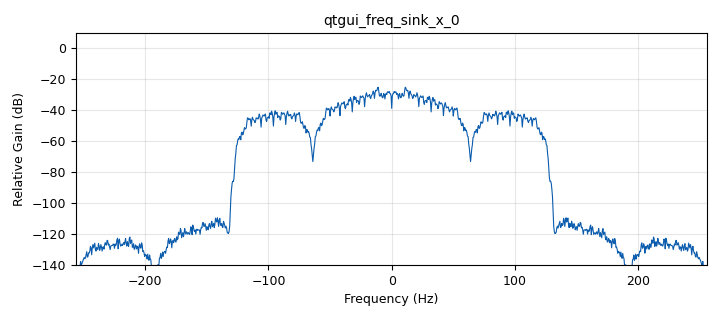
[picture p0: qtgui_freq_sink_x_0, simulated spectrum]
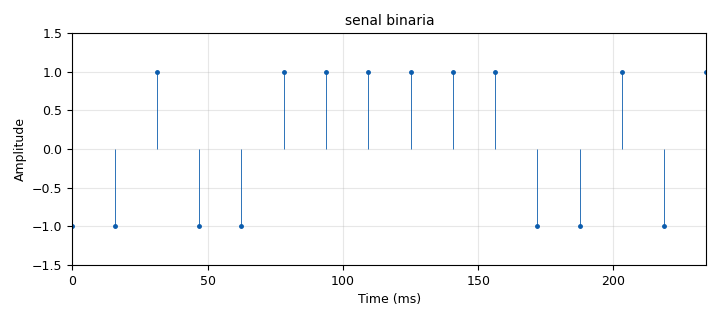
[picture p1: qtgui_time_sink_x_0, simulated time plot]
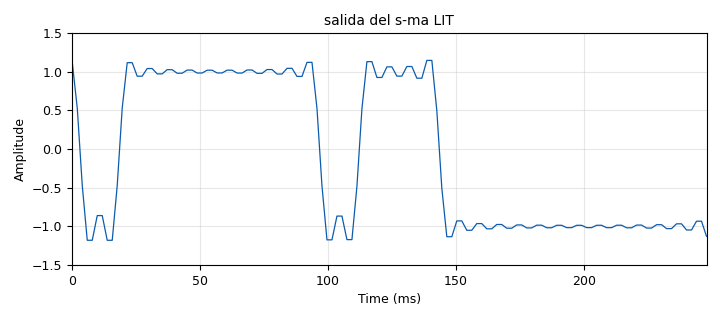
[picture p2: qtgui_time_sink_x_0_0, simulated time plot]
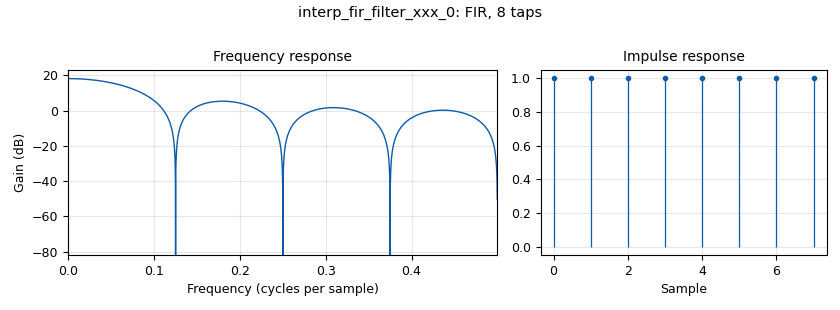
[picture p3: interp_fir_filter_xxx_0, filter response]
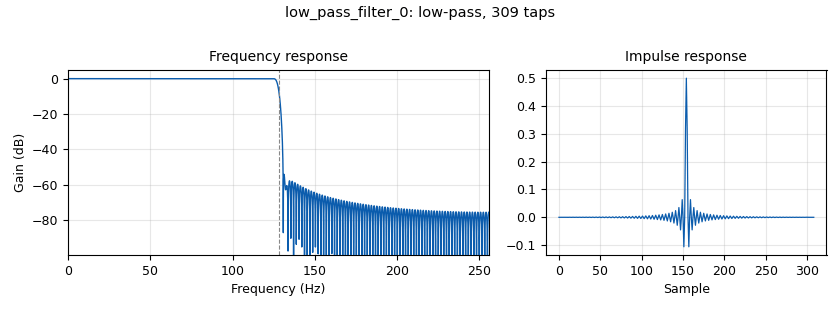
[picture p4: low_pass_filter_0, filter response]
<?xml version='1.0' encoding='utf-8'?>
<?grc format='1' created='3.7.13'?>
<flow_graph>
<block>
<key>options</key>
<param><key>id</key><value>top_block</value></param>
<param><key>generate_options</key><value>qt_gui</value></param>
<param><key>run</key><value>run_stop</value></param>
</block>
<block>
<key>variable</key>
<param><key>id</key><value>Rb</value></param>
<param><key>value</key><value>64</value></param>
</block>
<block>
<key>variable</key>
<param><key>id</key><value>Sps</value></param>
<param><key>value</key><value>len(h)</value></param>
</block>
<block>
<key>variable</key>
<param><key>id</key><value>h</value></param>
<param><key>value</key><value>(1.,1.,1.,1.,1.,1.,1.,1.)</value></param>
</block>
<block>
<key>variable_qtgui_check_box</key>
<param><key>id</key><value>run_stop</value></param>
<param><key>value</key><value>True</value></param>
<param><key>false</key><value>False</value></param>
<param><key>gui_hint</key><value>0,0,1,1</value></param>
<param><key>label</key><value>Pause</value></param>
<param><key>true</key><value>True</value></param>
<param><key>type</key><value>int</value></param>
</block>
<block>
<key>variable</key>
<param><key>id</key><value>samp_rate</value></param>
<param><key>value</key><value>Rb*Sps</value></param>
</block>
<block>
<key>analog_const_source_x</key>
<param><key>id</key><value>analog_const_source_x_0</value></param>
<param><key>const</key><value>-1./2.</value></param>
<param><key>type</key><value>float</value></param>
</block>
<block>
<key>analog_random_source_x</key>
<param><key>id</key><value>analog_random_source_x_0</value></param>
<param><key>max</key><value>2</value></param>
<param><key>min</key><value>0</value></param>
<param><key>num_samps</key><value>1000</value></param>
<param><key>type</key><value>int</value></param>
<param><key>repeat</key><value>True</value></param>
</block>
<block>
<key>blocks_add_xx</key>
<param><key>id</key><value>blocks_add_xx_0</value></param>
<param><key>type</key><value>float</value></param>
</block>
<block>
<key>blocks_int_to_float</key>
<param><key>id</key><value>blocks_int_to_float_0</value></param>
<param><key>scale</key><value>1</value></param>
</block>
<block>
<key>blocks_multiply_const_vxx</key>
<param><key>id</key><value>blocks_multiply_const_vxx_0</value></param>
<param><key>const</key><value>2.</value></param>
<param><key>type</key><value>float</value></param>
</block>
<block>
<key>blocks_vector_source_x</key>
<param><key>id</key><value>blocks_vector_source_x_0</value></param>
<param><key>_enabled</key><value>0</value></param>
<param><key>type</key><value>float</value></param>
<param><key>repeat</key><value>True</value></param>
<param><key>vector</key><value>(1., -1., 1., -1.)</value></param>
</block>
<block>
<key>epy_module</key>
<param><key>id</key><value>formas</value></param>
<param><key>source_code</key><value>import math
import numpy as np
# Cada funcion siguinete es una forma de pulso para una senal digital
# Los parametros comunmente usados son:
# Sps (Samples per simbol): Duracion de un simbolo en tiempo discreto
# ntaps: es el numero de muestras a generar por simbolo. Esto debido a que,
# en la practica, un simbolo puede invadir a otros simbolos (ISI), asi que
# las muestras de un simbolo se pueden expandir mas alla de Sps

# Bipolar non return to zero level signal
def B_NRZ_L(Sps):
    return Sps*[1.,]
##  Forma sinc 
def sinc(Sps,ntaps):
    n=np.linspace(-int(ntaps/2), int(ntaps/2-1),ntaps)
    h=np.sinc(n/Sps)
    return h
# forma diente se sierra
def saw(Sps):
    return np.linspace(0,Sps-1,Sps)	
# Bipolar non return to zero signal
def RZ(Sps):
    h=Sps*[1.,]
    Sps_m=int(Sps/2)
    h[Sps_m+1:Sps:1]=np.zeros(Sps-Sps_m)
    return h

</value></param>
</block>
<block>
<key>interp_fir_filter_xxx</key>
<param><key>id</key><value>interp_fir_filter_xxx_0</value></param>
<param><key>interp</key><value>Sps</value></param>
<param><key>taps</key><value>h</value></param>
<param><key>type</key><value>fff</value></param>
</block>
<block>
<key>low_pass_filter</key>
<param><key>id</key><value>low_pass_filter_0</value></param>
<param><key>cutoff_freq</key><value>Rb*2</value></param>
<param><key>type</key><value>interp_fir_filter_fff</value></param>
<param><key>gain</key><value>1</value></param>
<param><key>interp</key><value>1</value></param>
<param><key>samp_rate</key><value>samp_rate</value></param>
<param><key>width</key><value>Rb/16.</value></param>
<param><key>win</key><value>firdes.WIN_HAMMING</value></param>
</block>
<block>
<key>qtgui_freq_sink_x</key>
<param><key>id</key><value>qtgui_freq_sink_x_0</value></param>
<param><key>average</key><value>0.05</value></param>
<param><key>bw</key><value>samp_rate</value></param>
<param><key>fc</key><value>0</value></param>
<param><key>fftsize</key><value>1024</value></param>
<param><key>showports</key><value>True</value></param>
<param><key>type</key><value>float</value></param>
<param><key>wintype</key><value>firdes.WIN_BLACKMAN_hARRIS</value></param>
</block>
<block>
<key>qtgui_time_sink_x</key>
<param><key>id</key><value>qtgui_time_sink_x_0</value></param>
<param><key>color1</key><value>"blue"</value></param>
<param><key>label1</key><value></value></param>
<param><key>marker1</key><value>0</value></param>
<param><key>width1</key><value>3</value></param>
<param><key>name</key><value>"senal binaria"</value></param>
<param><key>size</key><value>int(128/Sps)</value></param>
<param><key>srate</key><value>Rb</value></param>
<param><key>stemplot</key><value>True</value></param>
<param><key>type</key><value>float</value></param>
<param><key>ymax</key><value>1.5</value></param>
<param><key>ymin</key><value>-1.5</value></param>
</block>
<block>
<key>qtgui_time_sink_x</key>
<param><key>id</key><value>qtgui_time_sink_x_0_0</value></param>
<param><key>color1</key><value>"blue"</value></param>
<param><key>label1</key><value></value></param>
<param><key>width1</key><value>3</value></param>
<param><key>name</key><value>"salida del s-ma LIT"</value></param>
<param><key>size</key><value>128</value></param>
<param><key>srate</key><value>samp_rate</value></param>
<param><key>type</key><value>float</value></param>
<param><key>ymax</key><value>1.5</value></param>
<param><key>ymin</key><value>-1.5</value></param>
</block>
<connection><source_block_id>analog_const_source_x_0</source_block_id><sink_block_id>blocks_add_xx_0</sink_block_id><source_key>0</source_key><sink_key>0</sink_key></connection>
<connection><source_block_id>analog_random_source_x_0</source_block_id><sink_block_id>blocks_int_to_float_0</sink_block_id><source_key>0</source_key><sink_key>0</sink_key></connection>
<connection><source_block_id>blocks_add_xx_0</source_block_id><sink_block_id>blocks_multiply_const_vxx_0</sink_block_id><source_key>0</source_key><sink_key>0</sink_key></connection>
<connection><source_block_id>blocks_int_to_float_0</source_block_id><sink_block_id>blocks_add_xx_0</sink_block_id><source_key>0</source_key><sink_key>1</sink_key></connection>
<connection><source_block_id>blocks_multiply_const_vxx_0</source_block_id><sink_block_id>interp_fir_filter_xxx_0</sink_block_id><source_key>0</source_key><sink_key>0</sink_key></connection>
<connection><source_block_id>blocks_multiply_const_vxx_0</source_block_id><sink_block_id>qtgui_time_sink_x_0</sink_block_id><source_key>0</source_key><sink_key>0</sink_key></connection>
<connection><source_block_id>blocks_vector_source_x_0</source_block_id><sink_block_id>qtgui_time_sink_x_0</sink_block_id><source_key>0</source_key><sink_key>0</sink_key></connection>
<connection><source_block_id>interp_fir_filter_xxx_0</source_block_id><sink_block_id>low_pass_filter_0</sink_block_id><source_key>0</source_key><sink_key>0</sink_key></connection>
<connection><source_block_id>low_pass_filter_0</source_block_id><sink_block_id>qtgui_freq_sink_x_0</sink_block_id><source_key>0</source_key><sink_key>0</sink_key></connection>
<connection><source_block_id>low_pass_filter_0</source_block_id><sink_block_id>qtgui_time_sink_x_0_0</sink_block_id><source_key>0</source_key><sink_key>0</sink_key></connection>
</flow_graph>
